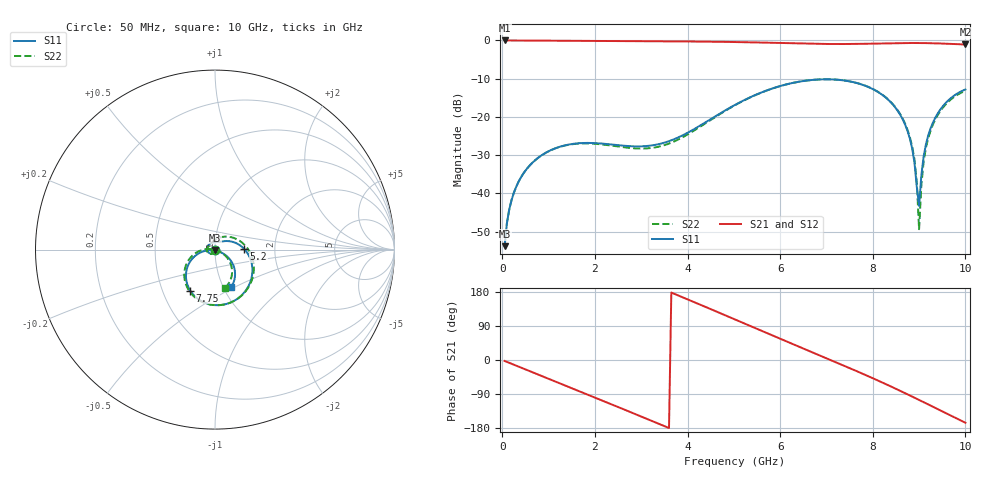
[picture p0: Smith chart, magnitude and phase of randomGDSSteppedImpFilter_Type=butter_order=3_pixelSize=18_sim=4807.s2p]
! freq	dB(S11)	phase(S11)	dB(S12)	phase(S12)
!  dB(S21)	phase(S21)	dB(S22)	phase(S22)
!S-par simulation data
#  GHz  S  DB  R 50
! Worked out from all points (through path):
!   200 points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, 50 MHz to 10 GHz, reference 50 ohm
!   highest |S21| = -0.01 dB at 50 MHz (marker M1); lowest = -1.1 dB at 10 GHz (marker M2)
!   group delay of S21, straight-line fit = 144 ps
!   lowest |S11| = -53.8 dB at 50 MHz (marker M3), VSWR 1.00, Z = 50 - j0.202 ohm
!   |S11| at or under -10 dB: start of sweep to end of sweep
!   |S22| runs from -53.8 to -10.2 dB; largest |S21 - S12| = 0
!   S11 on the Smith chart (normalised r, x): 50 MHz: 1.00, -0.00; 5.2 GHz: 1.39, +0.01; 7.75 GHz: 0.69, -0.34; 10 GHz: 1.08, -0.48
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0.05  -53.82 -83.2  -0.01 -2.5  -0.01 -2.5  -53.81 -82.8
0.2  -41.76 -98.4  -0.02 -10.0  -0.02 -10.0  -41.75 -96.9
0.5  -34.06 -116.1  -0.03 -24.8  -0.03 -24.8  -34.05 -112.4
1.15  -28.19 -152.9  -0.07 -57.0  -0.07 -57.0  -28.21 -143.4
1.75  -26.83 171.8  -0.11 -86.7  -0.11 -86.7  -26.94 -170.7
2.5  -27.40 125.0  -0.15 -124.1  -0.15 -124.1  -27.76 158.6
3.4  -27.07 71.9  -0.22 -169.4  -0.22 -169.4  -27.73 119.1
4.15  -23.15 42.6  -0.29 152.4  -0.29 152.4  -23.51 74.1
5.05  -16.70 7.7  -0.42 105.7  -0.42 105.7  -16.78 20.1
5.2  -15.76 1.2  -0.45 97.9  -0.45 97.9  -15.82 11.6
5.9  -12.29 -31.1  -0.65 61.3  -0.65 61.3  -12.31 -26.8
6.7  -10.32 -69.5  -0.88 20.0  -0.88 20.0  -10.33 -69.0
7.75  -11.48 -121.2  -0.89 -34.6  -0.89 -34.6  -11.46 -123.8
8.35  -15.71 -152.0  -0.74 -67.5  -0.74 -67.5  -15.63 -156.5
8.65  -20.74 -167.1  -0.68 -84.7  -0.68 -84.7  -20.54 -173.5
8.85  -28.22 -173.7  -0.67 -96.5  -0.67 -96.5  -27.67 175.4
8.95  -38.22 -160.1  -0.67 -102.4  -0.67 -102.4  -36.89 171.9
9  -43.30 -78.2  -0.68 -105.4  -0.68 -105.4  -49.38 -95.3
9.05  -35.16 -31.2  -0.68 -108.4  -0.68 -108.4  -37.73 -21.6
9.1  -30.22 -25.7  -0.69 -111.4  -0.69 -111.4  -31.52 -22.4
9.25  -22.94 -28.4  -0.73 -120.4  -0.73 -120.4  -23.53 -30.3
10  -12.84 -67.3  -1.06 -165.6  -1.06 -165.6  -13.19 -75.1
